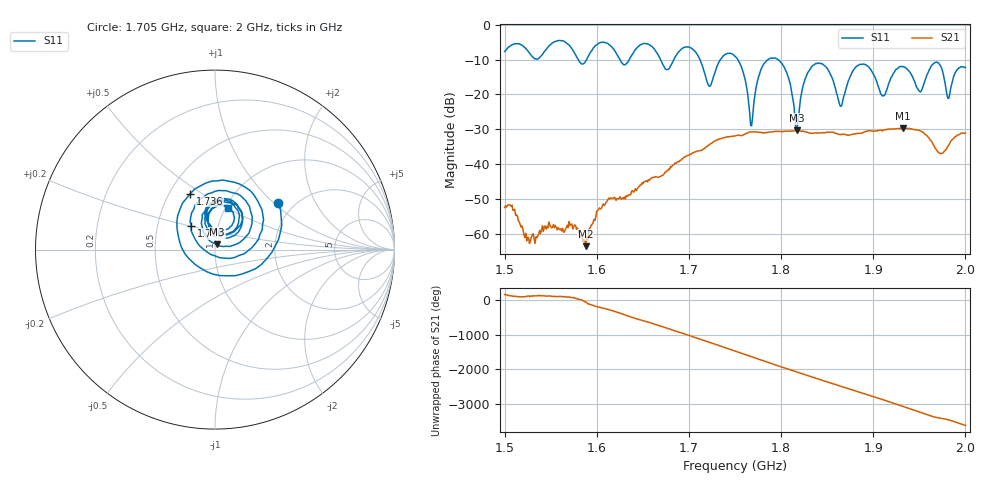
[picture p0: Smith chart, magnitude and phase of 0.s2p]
! NanoVNA-App by SYSJOINT et al v1.1.209 (+OD18)
! Date: 2026-01-21 14:51:17
! Start: 1,5GHz Stop: 2GHz Points: 501
! S-Parameter data: F S11 S21 S12 S22
# Hz S RI R 50
!  Frequency  S11_Real  S11_Imag  S21_Real  S21_Imag  S12_Real  S12_Imag  S22_Real  S22_Imag
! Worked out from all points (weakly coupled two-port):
!   501 points, 1.5 GHz to 2 GHz, reference 50 ohm
!   highest |S21| = -29.67 dB at 1.932 GHz (marker M1); lowest = -63.6 dB at 1.588 GHz (marker M2)
!   lowest |S11| = -30.3 dB at 1.817 GHz (marker M3), VSWR 1.06, Z = 51.1 + j2.91 ohm
!   |S11| at or under -10 dB: 1.712 GHz to 1.734 GHz (22.05 MHz wide, 1.28 % of centre); 1.753 GHz to 1.786 GHz (32.81 MHz wide, 1.85 % of centre); 1.797 GHz to end of sweep (the widest 3 of 6)
!   S12 and S22 are empty: the file has one direction only
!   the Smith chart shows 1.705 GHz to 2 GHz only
!   S11 on the Smith chart (normalised r, x): 1.705 GHz: 1.66, +1.06; 1.736 GHz: 0.64, +0.45; 1.776 GHz: 0.74, +0.20; 2 GHz: 1.02, +0.51
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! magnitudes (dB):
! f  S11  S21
! 1.5 GHz  -7.7  -52.5
! 1.526 GHz  -7.8  -61.2
! 1.584 GHz  -11.3  -61.0
! 1.588 GHz  -10.4  -63.6
! 1.667 GHz  -8.8  -43.8
! 1.705 GHz  -7.2  -36.7
! 1.722 GHz  -17.6  -34.4
! 1.736 GHz  -9.4  -32.6
! 1.75 GHz  -9.0  -31.9
! 1.767 GHz  -28.9  -30.8
! 1.776 GHz  -14.6  -30.8
! 1.8 GHz  -10.9  -30.6
! 1.817 GHz  -30.3  -30.5
! 1.834 GHz  -11.8  -31.1
! 1.864 GHz  -23.3  -31.5
! 1.885 GHz  -11.4  -31.2
! 1.917 GHz  -16.7  -29.9
! 1.932 GHz  -11.9  -29.7
! 1.951 GHz  -19.3  -30.5
! 1.97 GHz  -10.8  -36.4
! 1.981 GHz  -21.1  -34.9
! 2 GHz  -12.2  -31.1
